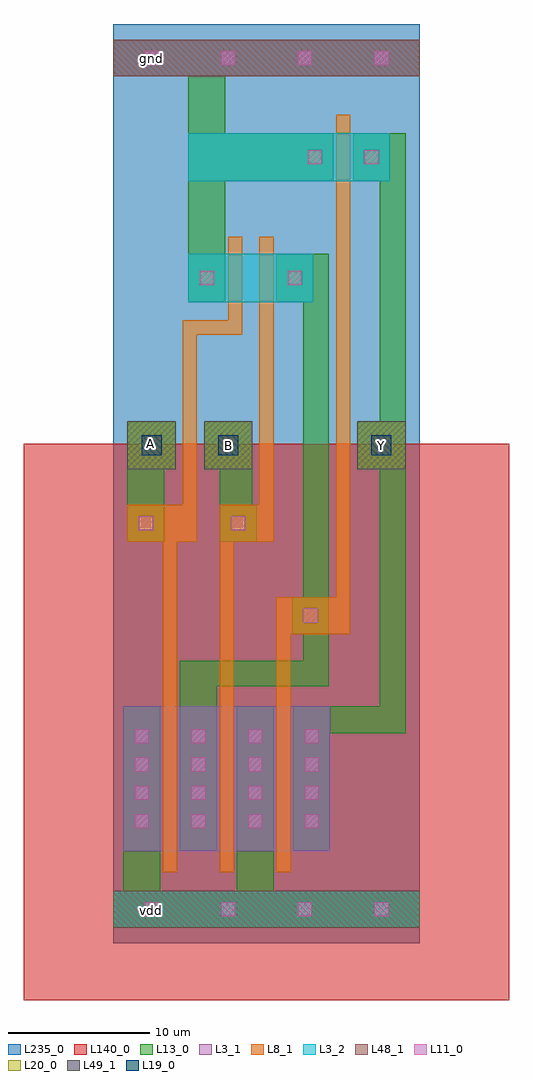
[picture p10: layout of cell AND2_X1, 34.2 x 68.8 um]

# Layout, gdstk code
import gdstk
lib = gdstk.Library(unit=1e-6, precision=1e-09)
def R(c, l, rs):  # rectangles x0, y0, x1, y1
    for r in rs: c.add(gdstk.rectangle(r[:2], r[2:], *l))
def A(c, l, x, y, w, h, nx, ny, dx, dy):  # array of equal rectangles
    R(c, l, [(x+i*dx, y+j*dy, x+i*dx+w, y+j*dy+h) for i in range(nx) for j in range(ny)])
def P(c, l, *ps):  # polygons
    for p in ps: c.add(gdstk.Polygon(p, *l))
L3_1 = (3, 1)
L3_2 = (3, 2)
L8_1 = (8, 1)
L11_0 = (11, 0)
L13_0 = (13, 0)
L19_0 = (19, 0)
L20_0 = (20, 0)
L48_1 = (48, 1)
L49_1 = (49, 1)
L140_0 = (140, 0)
L235_0 = (235, 0)

and2_x1 = lib.new_cell('AND2_X1')
R(and2_x1, L3_1, [(0.7,-58.3,7.3,-48.1), (4.7,-58.3,15.3,-48.1), (0,-3.7,21.6,-1.1)])
R(and2_x1, L3_2, [(0,-63.7,21.6,-61.1), (5.3,-19.6,14.1,-16.2), (5.3,-11.1,19.5,-7.7)])
R(and2_x1, L8_1, [(12.6,-43,15.2,-40.4)])
P(and2_x1, L8_1, [(11.5,-59.8),(11.5,-40.4),(15.7,-40.4),(15.7,-6.4),(16.7,-6.4),(16.7,-43),(12.5,-43),(12.5,-59.8)],
  [(3.5,-59.8),(3.5,-36.5),(1,-36.5),(1,-33.9),(4.9,-33.9),(4.9,-20.9),(8.1,-20.9),(8.1,-15),(9.1,-15),(9.1,-21.9),(5.9,-21.9),(5.9,-36.5),(4.5,-36.5),(4.5,-59.8)],
  [(7.5,-59.8),(7.5,-33.9),(10.3,-33.9),(10.3,-15),(11.3,-15),(11.3,-36.5),(8.5,-36.5),(8.5,-59.8)])
A(and2_x1, L11_0, 1.5, -56.7, 1, 1, 4, 4, 4, 2)
R(and2_x1, L11_0, [(2.2,-62.9,3.2,-61.9), (2.2,-62.9,3.2,-61.9), (7.6,-62.9,8.6,-61.9), (7.6,-62.9,8.6,-61.9), (7.6,-62.9,8.6,-61.9), (7.6,-62.9,8.6,-61.9), (13,-62.9,14,-61.9), (13,-62.9,14,-61.9), (18.4,-62.9,19.4,-61.9), (13.4,-42.2,14.4,-41.2), (1.8,-35.7,2.8,-34.7), (8.3,-35.7,9.3,-34.7), (6.1,-18.4,7.1,-17.4), (12.3,-18.4,13.3,-17.4), (13.7,-9.9,14.7,-8.9), (17.7,-9.9,18.7,-8.9), (2.2,-2.9,3.2,-1.9), (7.6,-2.9,8.6,-1.9), (7.6,-2.9,8.6,-1.9), (13,-2.9,14,-1.9), (13,-2.9,14,-1.9), (18.4,-2.9,19.4,-1.9)])
R(and2_x1, L13_0, [(0,-63.7,21.6,-61.1), (0.7,-61.1,3.3,-48.1), (8.7,-61.1,11.3,-48.1), (0,-3.7,21.6,-1.1)])
P(and2_x1, L13_0, [(5.3,-19.6),(5.3,-3.7),(7.9,-3.7),(7.9,-7.7),(15.5,-7.7),(15.5,-11.1),(7.9,-11.1),(7.9,-19.6)],
  [(1,-36.5),(1,-28),(4.4,-28),(4.4,-31.4),(3.6,-31.4),(3.6,-36.5)],
  [(7.5,-36.5),(7.5,-31.4),(6.4,-31.4),(6.4,-28),(9.8,-28),(9.8,-33.9),(10.1,-33.9),(10.1,-36.5)],
  [(4.7,-58.3),(4.7,-44.9),(13.4,-44.9),(13.4,-43),(12.6,-43),(12.6,-40.4),(13.4,-40.4),(13.4,-19.6),(11.5,-19.6),(11.5,-16.2),(15.2,-16.2),(15.2,-46.7),(7.3,-46.7),(7.3,-58.3)],
  [(12.7,-58.3),(12.7,-48.1),(18.8,-48.1),(18.8,-31.4),(17.2,-31.4),(17.2,-28),(18.8,-28),(18.8,-11.1),(16.9,-11.1),(16.9,-7.7),(20.6,-7.7),(20.6,-50),(15.3,-50),(15.3,-58.3)])
R(and2_x1, L19_0, [(2,-30.4,3.4,-29), (7.4,-30.4,8.8,-29), (18.2,-30.4,19.6,-29)])
R(and2_x1, L20_0, [(1,-31.4,4.4,-28), (6.4,-31.4,9.8,-28), (17.2,-31.4,20.6,-28)])
R(and2_x1, L48_1, [(0,-63.7,21.6,-61.1), (0,-3.7,21.6,-1.1)])
R(and2_x1, L49_1, [(1,-31.4,4.4,-28), (6.4,-31.4,9.8,-28), (17.2,-31.4,20.6,-28)])
R(and2_x1, L140_0, [(-6.3,-68.8,27.9,-29.6)])
R(and2_x1, L235_0, [(0,-64.8,21.6,0)])
and2_x1.add(gdstk.Label('gnd', (2.7,-2.4), layer=48, texttype=0))
and2_x1.add(gdstk.Label('vdd', (2.7,-62.5), layer=48, texttype=0))
and2_x1.add(gdstk.Label('Y', (18.9,-29.7), layer=49, texttype=0))
and2_x1.add(gdstk.Label('A', (2.6,-29.6), layer=49, texttype=0))
and2_x1.add(gdstk.Label('B', (8.1,-29.7), layer=49, texttype=0))

lib.write_gds('AND2_X1.gds')
